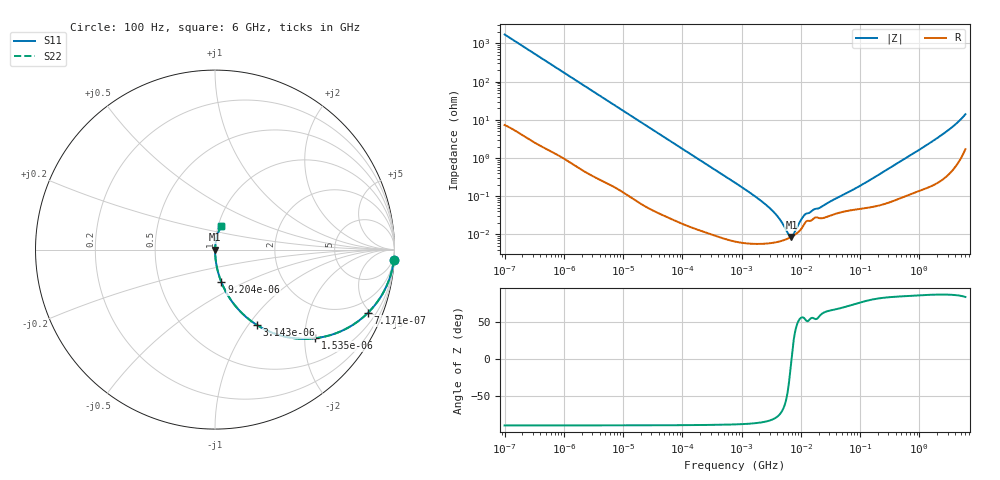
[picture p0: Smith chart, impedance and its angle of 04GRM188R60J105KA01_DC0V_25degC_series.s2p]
!Murata Part Number: GRM188R60J105KA01
!These Parameters are Measured in Series Mode Connection
!  o--ll--o
!Port1  Port2
!  o------o
!Operation Temp=25[degC], DC Bias Voltage=0[V]
!Freq. Start=100[Hz] Stop=6[GHz], 401[Steps]
!Data Generated on Jan 10, 2017
# Hz S RI R 50
!Freq.(Hz) S11(Real) S11(Imag) S21(Real) S21(Imag) S12(Real) S12(Imag) S22(Real) S22(Imag)
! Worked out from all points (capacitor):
!   401 points, 100 Hz to 6 GHz, reference 50 ohm
!   read as one part in series: C = 928 nF near 109.4 Hz
!   lowest |Z| = 8.66 mohm at 6.949 MHz (marker M1)
!   series resonance near 6.96 MHz, so ESL is about 560 pH
!   S11 on the Smith chart (normalised r, x): 100 Hz: 1, -34; 717.1 Hz: 1.03, -4.81; 1.535 kHz: 1.01, -2.25; 3.143 kHz: 1.01, -1.10; 9.204 kHz: 1.00, -0.38; 6 GHz: 1.03, +0.28
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100  0.9964 -0.0582  0.00364 0.0582  0.00364 0.0582  0.9964 -0.0582
334.9849  0.9626 -0.1874  0.0374 0.1874  0.0374 0.1874  0.9626 -0.1874
717.1279  0.8511 -0.3533  0.1489 0.3533  0.1489 0.3533  0.8511 -0.3533
1535.211  0.5587 -0.4937  0.4413 0.4937  0.4413 0.4937  0.5587 -0.4937
2008.354  0.4264 -0.4917  0.5736 0.4917  0.5736 0.4917  0.4264 -0.4917
3142.636  0.2345 -0.4207  0.7655 0.4207  0.7655 0.4207  0.2345 -0.4207
5142.725  0.1039 -0.3018  0.8961 0.3018  0.8961 0.3018  0.1039 -0.3018
9204.139  0.0358 -0.1821  0.9642 0.1821  0.9642 0.1821  0.0358 -0.1821
40334.87  0.00224 -0.0433  0.9978 0.0433  0.9978 0.0433  0.00224 -0.0433
774596.7  7.03e-05 -0.00227  0.9999 0.00227  0.9999 0.00227  7.03e-05 -0.00227
1734173  5.76e-05 -0.000965  0.9999 0.000965  0.9999 0.000965  5.76e-05 -0.000965
2967816  5.91e-05 -0.000492  0.9999 0.000492  0.9999 0.000492  5.91e-05 -0.000492
4246196  6.49e-05 -0.000264  0.9999 0.000264  0.9999 0.000264  6.49e-05 -0.000264
6075234  7.82e-05 -6.99e-05  0.9999 6.99e-05  0.9999 6.99e-05  7.82e-05 -6.99e-05
6948629  8.66e-05 -8.5e-07  0.9999 8.5e-07  0.9999 8.5e-07  8.66e-05 -8.5e-07
7947587  9.83e-05 6.86e-05  0.9999 -6.86e-05  0.9999 -6.86e-05  9.83e-05 6.86e-05
1.137099e7  0.000183 0.000257  0.9998 -0.000257  0.9998 -0.000257  0.000183 0.000257
1.555665e7  0.000241 0.000344  0.9998 -0.000344  0.9998 -0.000344  0.000241 0.000344
8.527865e7  0.000453 0.00157  0.9995 -0.00157  0.9995 -0.00157  0.000453 0.00157
3.124326e8  0.000718 0.00538  0.9993 -0.00538  0.9993 -0.00538  0.000718 0.00538
2.240541e9  0.00383 0.0372  0.9962 -0.0372  0.9962 -0.0372  0.00383 0.0372
6e9  0.0349 0.1322  0.9651 -0.1322  0.9651 -0.1322  0.0349 0.1322
